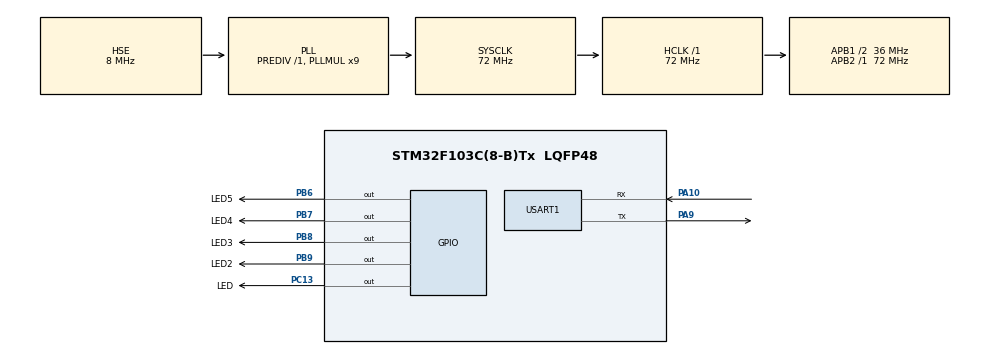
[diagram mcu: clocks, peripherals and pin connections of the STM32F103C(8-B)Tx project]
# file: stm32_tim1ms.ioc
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Mcu.Family=STM32F1
Mcu.Name=STM32F103C(8-B)Tx
Mcu.Package=LQFP48
NVIC.PriorityGroup=NVIC_PRIORITYGROUP_4
NVIC.RCC_IRQn=true\:0\:0\:false\:false\:true\:true\:false
NVIC.TIM3_IRQn=true\:1\:0\:true\:false\:true\:true\:true
NVIC.USART1_IRQn=true\:0\:0\:false\:false\:true\:true\:true
PA10.Mode=Asynchronous
PA10.Signal=USART1_RX
PA9.Mode=Asynchronous
PA9.Signal=USART1_TX
PB6.GPIO_Label=LED5
PB6.GPIO_Speed=GPIO_SPEED_FREQ_HIGH
PB6.Signal=GPIO_Output
PB7.GPIO_Label=LED4
PB7.GPIO_Speed=GPIO_SPEED_FREQ_HIGH
PB7.Signal=GPIO_Output
PB8.GPIO_Label=LED3
PB8.GPIO_Speed=GPIO_SPEED_FREQ_HIGH
PB8.Signal=GPIO_Output
PB9.GPIO_Label=LED2
PB9.GPIO_Speed=GPIO_SPEED_FREQ_HIGH
PB9.Signal=GPIO_Output
PC13-TAMPER-RTC.GPIO_Label=LED
PC13-TAMPER-RTC.GPIO_Speed=GPIO_SPEED_FREQ_HIGH
PC13-TAMPER-RTC.Signal=GPIO_Output
PD0-OSC_IN.Mode=HSE-External-Oscillator
PD0-OSC_IN.Signal=RCC_OSC_IN
PD1-OSC_OUT.Mode=HSE-External-Oscillator
PD1-OSC_OUT.Signal=RCC_OSC_OUT
ProjectManager.HeapSize=0x200
ProjectManager.StackSize=0x400
ProjectManager.TargetToolchain=STM32CubeIDE
RCC.AHBFreq_Value=72000000
RCC.APB1CLKDivider=RCC_HCLK_DIV2
RCC.APB1Freq_Value=36000000
RCC.APB1TimFreq_Value=72000000
RCC.APB2Freq_Value=72000000
RCC.APB2TimFreq_Value=72000000
RCC.HCLKFreq_Value=72000000
RCC.PLLMUL=RCC_PLL_MUL9
RCC.PLLSourceVirtual=RCC_PLLSOURCE_HSE
RCC.SYSCLKFreq_VALUE=72000000
RCC.SYSCLKSource=RCC_SYSCLKSOURCE_PLLCLK
RCC.USBFreq_Value=72000000
TIM3.AutoReloadPreload=TIM_AUTORELOAD_PRELOAD_ENABLE
TIM3.CounterMode=TIM_COUNTERMODE_UP
TIM3.Period=1
TIM3.Prescaler=35999
USART1.VirtualMode=VM_ASYNC
VP_SYS_VS_ND.Mode=No_Debug
VP_TIM3_VS_ClockSourceINT.Mode=Internal
board=custom

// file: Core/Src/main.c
/* USER CODE BEGIN Header */
/**
  ******************************************************************************
  * @file           : main.c
  * @brief          : Main program body
  ******************************************************************************
  * @attention
  *
  * <h2><center>&copy; Copyright (c) 2020 STMicroelectronics.
  * All rights reserved.</center></h2>
  *
  * This software component is licensed by ST under BSD 3-Clause license,
  * the "License"; You may not use this file except in compliance with the
  * License. You may obtain a copy of the License at:
  *                        opensource.org/licenses/BSD-3-Clause
  *
  ******************************************************************************
  */

/*
 *
 *		PR 35999
 *		DIV 36000
 *		PERIOD 800 -> 400ms
 *		PERIOD 8   -> 1ms
 *
 */

/* USER CODE END Header */

#include "main.h"

/* USER CODE BEGIN Includes */
#include "stdio.h"
/* USER CODE END Includes */

TIM_HandleTypeDef htim3;

UART_HandleTypeDef huart1;

/* USER CODE BEGIN PV */
unsigned int blink_count = 0;
unsigned int blink2_count = 0;
unsigned int blink3_count = 0;
unsigned int blink4_count = 0;
unsigned int blink5_count = 0;
unsigned char Buffer[255],BuffLen = 0;
/* USER CODE END PV */

void SystemClock_Config(void);
static void MX_GPIO_Init(void);
static void MX_TIM3_Init(void);
static void MX_USART1_UART_Init(void);

int main(void)
{

  /* MCU Configuration--------------------------------------------------------*/

  /* Reset of all peripherals, Initializes the Flash interface and the Systick. */
  HAL_Init();

  /* Configure the system clock */
  SystemClock_Config();

  /* Initialize all configured peripherals */
  MX_GPIO_Init();
  MX_TIM3_Init();
  MX_USART1_UART_Init();
  /* USER CODE BEGIN 2 */
  HAL_TIM_Base_Start_IT(&htim3);

  BuffLen = sprintf((char*)Buffer,"HCLK=%lu\r\n", HAL_RCC_GetHCLKFreq());
  //HAL_UART_Transmit_IT(&huart1,Buffer,BuffLen);
  HAL_UART_Transmit(&huart1,Buffer,BuffLen,BuffLen);

  BuffLen = sprintf((char*)Buffer,"Build:%s:%s\r\n", __DATE__,__TIME__);
  HAL_UART_Transmit(&huart1,Buffer,BuffLen,BuffLen);

  /* USER CODE END 2 */

  /* Infinite loop */
  while (1)
  {

  }
}

void SystemClock_Config(void)
{
  RCC_OscInitTypeDef RCC_OscInitStruct = {0};
  RCC_ClkInitTypeDef RCC_ClkInitStruct = {0};

  /** Initializes the CPU, AHB and APB busses clocks
  */
  RCC_OscInitStruct.OscillatorType = RCC_OSCILLATORTYPE_HSE;
  RCC_OscInitStruct.HSEState = RCC_HSE_ON;
  RCC_OscInitStruct.HSEPredivValue = RCC_HSE_PREDIV_DIV1;
  RCC_OscInitStruct.HSIState = RCC_HSI_ON;
  RCC_OscInitStruct.PLL.PLLState = RCC_PLL_ON;
  RCC_OscInitStruct.PLL.PLLSource = RCC_PLLSOURCE_HSE;
  RCC_OscInitStruct.PLL.PLLMUL = RCC_PLL_MUL9;
  if (HAL_RCC_OscConfig(&RCC_OscInitStruct) != HAL_OK)
  {
    Error_Handler();
  }
  /** Initializes the CPU, AHB and APB busses clocks
  */
  RCC_ClkInitStruct.ClockType = RCC_CLOCKTYPE_HCLK|RCC_CLOCKTYPE_SYSCLK
                              |RCC_CLOCKTYPE_PCLK1|RCC_CLOCKTYPE_PCLK2;
  RCC_ClkInitStruct.SYSCLKSource = RCC_SYSCLKSOURCE_PLLCLK;
  RCC_ClkInitStruct.AHBCLKDivider = RCC_SYSCLK_DIV1;
  RCC_ClkInitStruct.APB1CLKDivider = RCC_HCLK_DIV2;
  RCC_ClkInitStruct.APB2CLKDivider = RCC_HCLK_DIV1;

  if (HAL_RCC_ClockConfig(&RCC_ClkInitStruct, FLASH_LATENCY_2) != HAL_OK)
  {
    Error_Handler();
  }
}

static void MX_TIM3_Init(void)
{

  TIM_ClockConfigTypeDef sClockSourceConfig = {0};
  TIM_MasterConfigTypeDef sMasterConfig = {0};

  htim3.Instance = TIM3;
  htim3.Init.Prescaler = 35999;
  htim3.Init.CounterMode = TIM_COUNTERMODE_UP;
  htim3.Init.Period = 1;
  htim3.Init.ClockDivision = TIM_CLOCKDIVISION_DIV1;
  htim3.Init.AutoReloadPreload = TIM_AUTORELOAD_PRELOAD_ENABLE;
  if (HAL_TIM_Base_Init(&htim3) != HAL_OK)
  {
    Error_Handler();
  }
  sClockSourceConfig.ClockSource = TIM_CLOCKSOURCE_INTERNAL;
  if (HAL_TIM_ConfigClockSource(&htim3, &sClockSourceConfig) != HAL_OK)
  {
    Error_Handler();
  }
  sMasterConfig.MasterOutputTrigger = TIM_TRGO_RESET;
  sMasterConfig.MasterSlaveMode = TIM_MASTERSLAVEMODE_DISABLE;
  if (HAL_TIMEx_MasterConfigSynchronization(&htim3, &sMasterConfig) != HAL_OK)
  {
    Error_Handler();
  }

}

static void MX_USART1_UART_Init(void)
{

  huart1.Instance = USART1;
  huart1.Init.BaudRate = 115200;
  huart1.Init.WordLength = UART_WORDLENGTH_8B;
  huart1.Init.StopBits = UART_STOPBITS_1;
  huart1.Init.Parity = UART_PARITY_NONE;
  huart1.Init.Mode = UART_MODE_TX_RX;
  huart1.Init.HwFlowCtl = UART_HWCONTROL_NONE;
  huart1.Init.OverSampling = UART_OVERSAMPLING_16;
  if (HAL_UART_Init(&huart1) != HAL_OK)
  {
    Error_Handler();
  }

}

static void MX_GPIO_Init(void)
{
  GPIO_InitTypeDef GPIO_InitStruct = {0};

  /* GPIO Ports Clock Enable */
  __HAL_RCC_GPIOC_CLK_ENABLE();
  __HAL_RCC_GPIOD_CLK_ENABLE();
  __HAL_RCC_GPIOA_CLK_ENABLE();
  __HAL_RCC_GPIOB_CLK_ENABLE();

  /*Configure GPIO pin Output Level */
  HAL_GPIO_WritePin(LED_GPIO_Port, LED_Pin, GPIO_PIN_RESET);

  /*Configure GPIO pin Output Level */
  HAL_GPIO_WritePin(GPIOB, LED5_Pin|LED4_Pin|LED3_Pin|LED2_Pin, GPIO_PIN_RESET);

  /*Configure GPIO pin : LED_Pin */
  GPIO_InitStruct.Pin = LED_Pin;
  GPIO_InitStruct.Mode = GPIO_MODE_OUTPUT_PP;
  GPIO_InitStruct.Pull = GPIO_NOPULL;
  GPIO_InitStruct.Speed = GPIO_SPEED_FREQ_HIGH;
  HAL_GPIO_Init(LED_GPIO_Port, &GPIO_InitStruct);

  /*Configure GPIO pins : LED5_Pin LED4_Pin LED3_Pin LED2_Pin */
  GPIO_InitStruct.Pin = LED5_Pin|LED4_Pin|LED3_Pin|LED2_Pin;
  GPIO_InitStruct.Mode = GPIO_MODE_OUTPUT_PP;
  GPIO_InitStruct.Pull = GPIO_NOPULL;
  GPIO_InitStruct.Speed = GPIO_SPEED_FREQ_HIGH;
  HAL_GPIO_Init(GPIOB, &GPIO_InitStruct);

}

/* USER CODE BEGIN 4 */
void HAL_TIM_PeriodElapsedCallback(TIM_HandleTypeDef *htim)
{
	if(htim->Instance == htim3.Instance)
	{
		//blink_count++;
		//if(blink_count > 999)
		{
			blink_count = 0;
			HAL_GPIO_TogglePin(LED_GPIO_Port, LED_Pin);
		}

		//blink2_count++;
		//if(blink2_count > 499)
		{
			blink2_count = 0;
			HAL_GPIO_TogglePin(LED2_GPIO_Port, LED2_Pin);
		}
		blink3_count++;
		if(blink3_count > 19)
		{
			blink3_count = 0;
			HAL_GPIO_TogglePin(LED3_GPIO_Port, LED3_Pin);
		}
		blink4_count++;
		if(blink4_count > 149)
		{
			blink4_count = 0;
			HAL_GPIO_TogglePin(LED4_GPIO_Port, LED4_Pin);
		}
		blink5_count++;
		if(blink5_count > 1999)
		{
			blink5_count = 0;
			HAL_GPIO_TogglePin(LED5_GPIO_Port, LED5_Pin);
		}

	}
}
/* USER CODE END 4 */

void Error_Handler(void)
{
}

/************************ (C) COPYRIGHT STMicroelectronics *****END OF FILE****/
